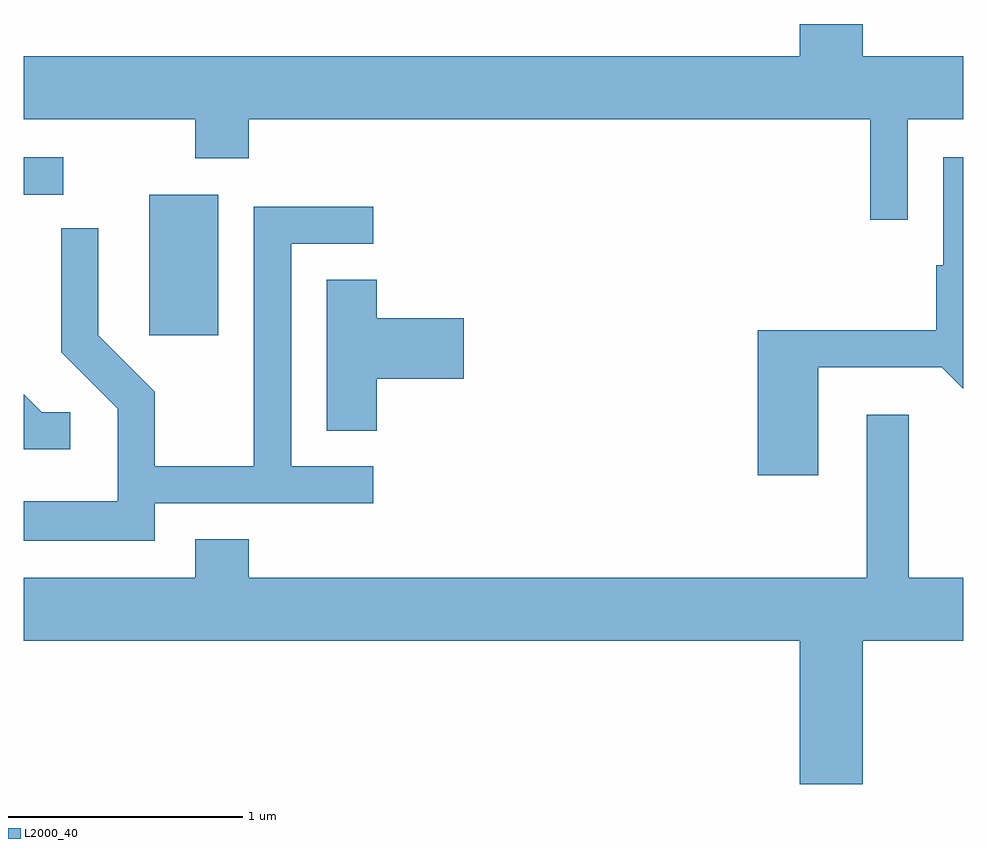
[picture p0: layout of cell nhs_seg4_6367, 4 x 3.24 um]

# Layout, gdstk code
import gdstk
lib = gdstk.Library(unit=1e-6, precision=1e-09)
def R(c, l, rs):  # rectangles x0, y0, x1, y1
    for r in rs: c.add(gdstk.rectangle(r[:2], r[2:], *l))
def P(c, l, *ps):  # polygons
    for p in ps: c.add(gdstk.Polygon(p, *l))
L2000_40 = (2000, 40)

nhs_seg4_6367 = lib.new_cell('nhs_seg4_6367')
R(nhs_seg4_6367, L2000_40, [(372.146,1342.656,372.439,1343.254), (371.611,1343.256,371.778,1343.414)])
P(nhs_seg4_6367, L2000_40, [(375.374,1343.576),(375.611,1343.576),(375.611,1343.844),(375.184,1343.844),(375.184,1343.982),(374.916,1343.982),(374.916,1343.844),(371.611,1343.844),(371.611,1343.576),(372.341,1343.576),(372.341,1343.411),(372.569,1343.411),(372.569,1343.576),(375.216,1343.576),(375.216,1343.148),(375.374,1343.148)],
  [(374.994,1342.521),(375.519,1342.521),(375.611,1342.429),(375.611,1343.414),(375.526,1343.414),(375.526,1342.954),(375.496,1342.954),(375.496,1342.679),(374.736,1342.679),(374.736,1342.061),(374.994,1342.061)],
  [(372.169,1341.941),(373.098,1341.941),(373.098,1342.099),(372.749,1342.099),(372.749,1343.046),(373.098,1343.046),(373.098,1343.204),(372.591,1343.204),(372.591,1342.099),(372.169,1342.099),(372.169,1342.417),(371.929,1342.657),(371.929,1343.113),(371.771,1343.113),(371.771,1342.584),(372.011,1342.344),(372.011,1341.949),(371.611,1341.949),(371.611,1341.781),(372.169,1341.781)],
  [(373.114,1342.471),(373.484,1342.471),(373.484,1342.729),(373.114,1342.729),(373.114,1342.894),(372.901,1342.894),(372.901,1342.251),(373.114,1342.251)],
  [(371.808,1342.329),(371.687,1342.329),(371.611,1342.405),(371.611,1342.171),(371.808,1342.171)],
  [(375.184,1341.356),(375.611,1341.356),(375.611,1341.624),(375.379,1341.624),(375.379,1342.319),(375.201,1342.319),(375.201,1341.624),(372.569,1341.624),(372.569,1341.789),(372.341,1341.789),(372.341,1341.624),(371.611,1341.624),(371.611,1341.356),(374.916,1341.356),(374.916,1340.746),(375.184,1340.746)])

lib.write_gds('nhs_seg4_6367.gds')
